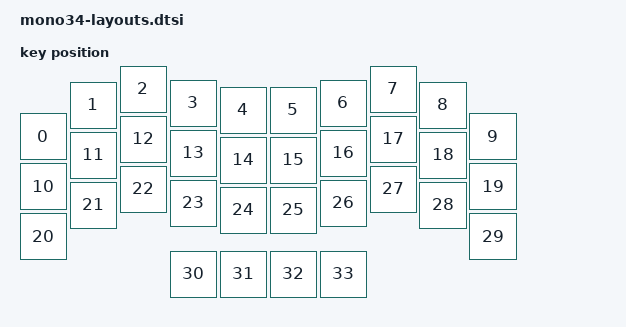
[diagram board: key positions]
/*
 * Physical layout for the mono34: a 34-key unibody (monoblock) with a
 * Sweep/Ferris-style column stagger and a joined 10-column grid.
 *
 * Units are 1/100 of a key, so a 1u key is 100x100. The column stagger
 * offsets (pinky +95, ring +32, middle 0, index +28, inner +42) are taken
 * from the Ferris/Sweep layout; the only difference here is that the two
 * halves are butted together instead of separated, which is what makes it
 * a monoblock.
 *
 * SPDX-License-Identifier: MIT
 */

#include <physical_layouts.dtsi>

/ {
    mono34_layout: mono34_layout {
        compatible = "zmk,physical-layout";
        display-name = "Default";

        keys  //                     w   h    x    y   rot   rx   ry
            = <&key_physical_attrs 100 100    0   95     0    0    0>
            , <&key_physical_attrs 100 100  100   32     0    0    0>
            , <&key_physical_attrs 100 100  200    0     0    0    0>
            , <&key_physical_attrs 100 100  300   28     0    0    0>
            , <&key_physical_attrs 100 100  400   42     0    0    0>
            , <&key_physical_attrs 100 100  500   42     0    0    0>
            , <&key_physical_attrs 100 100  600   28     0    0    0>
            , <&key_physical_attrs 100 100  700    0     0    0    0>
            , <&key_physical_attrs 100 100  800   32     0    0    0>
            , <&key_physical_attrs 100 100  900   95     0    0    0>

            , <&key_physical_attrs 100 100    0  195     0    0    0>
            , <&key_physical_attrs 100 100  100  132     0    0    0>
            , <&key_physical_attrs 100 100  200  100     0    0    0>
            , <&key_physical_attrs 100 100  300  128     0    0    0>
            , <&key_physical_attrs 100 100  400  142     0    0    0>
            , <&key_physical_attrs 100 100  500  142     0    0    0>
            , <&key_physical_attrs 100 100  600  128     0    0    0>
            , <&key_physical_attrs 100 100  700  100     0    0    0>
            , <&key_physical_attrs 100 100  800  132     0    0    0>
            , <&key_physical_attrs 100 100  900  195     0    0    0>

            , <&key_physical_attrs 100 100    0  295     0    0    0>
            , <&key_physical_attrs 100 100  100  232     0    0    0>
            , <&key_physical_attrs 100 100  200  200     0    0    0>
            , <&key_physical_attrs 100 100  300  228     0    0    0>
            , <&key_physical_attrs 100 100  400  242     0    0    0>
            , <&key_physical_attrs 100 100  500  242     0    0    0>
            , <&key_physical_attrs 100 100  600  228     0    0    0>
            , <&key_physical_attrs 100 100  700  200     0    0    0>
            , <&key_physical_attrs 100 100  800  232     0    0    0>
            , <&key_physical_attrs 100 100  900  295     0    0    0>

            , <&key_physical_attrs 100 100  300  370     0    0    0>
            , <&key_physical_attrs 100 100  400  370     0    0    0>
            , <&key_physical_attrs 100 100  500  370     0    0    0>
            , <&key_physical_attrs 100 100  600  370     0    0    0>
            ;
    };
};
